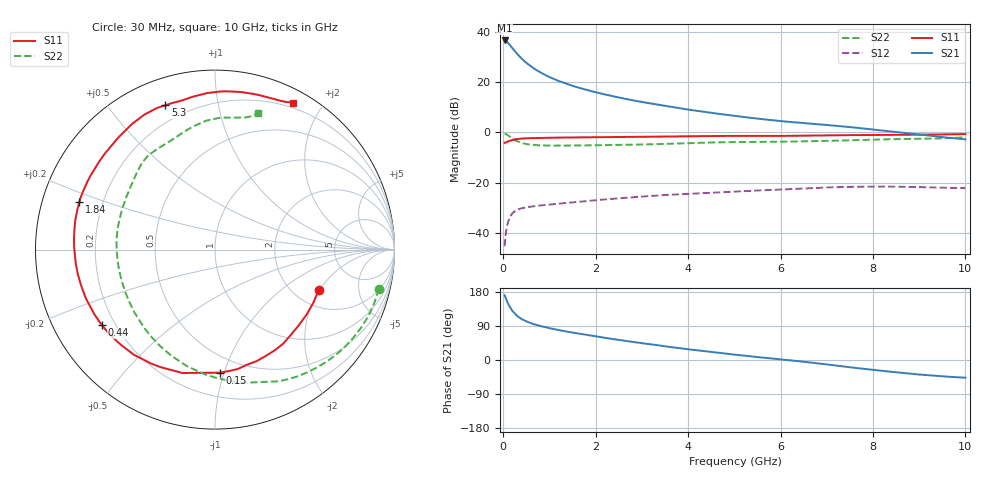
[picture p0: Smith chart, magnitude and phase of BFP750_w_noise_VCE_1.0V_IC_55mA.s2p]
! Infineon Technologies  Discrete & RF Semiconductors
! BFP750
! VCE =  1.0 V,  IC =  55 mA
! Common Emitter S-Parameters:  Jan 2016
# GHz  S  MA  R  50
!  f  S11  S21  S12  S22
! GHz  MAG  ANG  MAG  ANG  MAG  ANG  MAG  ANG
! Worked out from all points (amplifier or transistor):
!   229 points, 30 MHz to 10 GHz, reference 50 ohm
!   highest |S21| = 36.7 dB at 30 MHz (marker M1)
!   |S21| within 3 dB of that: start of sweep to 195.5 MHz
!   unconditionally stable (mu >= 1): 3.361 GHz to end of sweep
!   at 280 MHz: K = 0.18, MSG = 31.4 dB, |S12| = -31.1 dB
!   at 1.78 GHz: K = 0.74, MSG = 22.2 dB, |S12| = -27.4 dB
!   at 10 GHz: K = 1.11, MAG = 7.7 dB, |S12| = -22.2 dB
!   lowest NFmin = 1.08 dB at 450 MHz
!   S11 on the Smith chart (normalised r, x): 30 MHz: 2.67, -1.97; 150 MHz: 0.37, -0.97; 440 MHz: 0.15, -0.30; 1.84 GHz: 0.11, +0.17; 5.3 GHz: 0.12, +0.71; 10 GHz: 0.14, +1.66
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0.03  0.62 -21.5  68.05 170.9  0.0054 78.0  0.9391 -13.5
0.05  0.6257 -35.3  67.19 164.1  0.0086 73.4  0.9318 -23.3
0.07  0.6359 -48.3  65.26 158.1  0.0117 68.5  0.9138 -32.4
0.09  0.6525 -59.4  62.84 152.7  0.0145 64.6  0.8929 -41.2
0.12  0.6661 -74.7  58.61 145.1  0.0181 58.1  0.8548 -53.3
0.15  0.6861 -87.8  54.44 138.4  0.021 52.6  0.8153 -64.2
0.2  0.7111 -104.8  47.61 129.3  0.0245 45.4  0.755 -79.8
0.24  0.7216 -114.8  42.96 123.8  0.0264 40.8  0.7132 -89.9
0.3  0.74 -127.7  36.87 116.5  0.0286 35.9  0.6686 -103.4
0.36  0.7478 -136.8  32.15 111.3  0.0301 32.3  0.634 -113.9
0.44  0.7573 -146.2  27.25 105.4  0.0314 29.0  0.6033 -125.3
0.6  0.7689 -159.3  20.64 97.0  0.0332 25.2  0.5697 -141.7
0.9  0.7794 -174.0  14.07 86.8  0.0357 22.7  0.5489 -160.3
1.2  0.7879 176.0  10.6 79.0  0.0379 22.1  0.5462 -172.1
1.7  0.7987 163.6  7.48 68.3  0.0419 21.6  0.5509 174.5
1.84  0.8008 160.7  6.888 65.4  0.0431 21.5  0.5526 171.4
3.4  0.8211 132.5  3.499 37.9  0.0557 15.7  0.5862 143.3
5.1  0.8516 111.2  2.084 13.0  0.0669 6.4  0.6435 124.1
5.3  0.8505 109.0  1.98 10.5  0.0681 5.1  0.6446 121.8
6.8  0.8675 95.0  1.456 -8.7  0.0784 -5.1  0.672 106.4
8.4  0.8933 76.3  1.043 -31.2  0.0829 -20.4  0.7324 88.8
10  0.9266 62.0  0.728 -46.8  0.0773 -31.5  0.7965 72.5
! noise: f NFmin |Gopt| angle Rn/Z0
0.45  1.08  0.19  -168  0.47
0.9  1.11  0.25  -161  0.24
1.5  1.13  0.36  -155  0.09
1.9  1.14  0.39  -150  0.08
2.4  1.15  0.4  -143  0.09
3.5  1.38  0.41  -127  0.1
